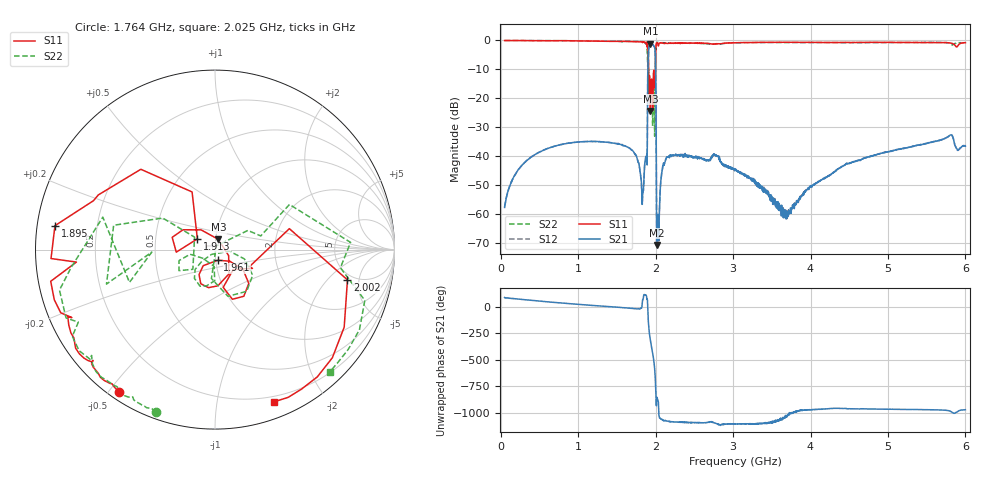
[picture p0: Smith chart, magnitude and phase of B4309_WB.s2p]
! Matrix data file written by TouchstoneData, EPCOS AG
! FILENAME: "B4309_WB.s2p"
! COMMENT: "(AI24B_R1C1_WB.s2p) Epcos AG 3/11/2011 10:50"
! INFO: nport=2, nfreq=1601
! DATE: "Thu Apr  7 08:25:59 2011"
! USER: "Jacques-Antoine Damy"
! port | pin | signal
!  1  |  1  |  IN
!  2  |  4  |  OUT
# MHZ S RI R 50
! freq  reS11 imS11  reS21 imS21  reS12 imS12  reS22 imS22
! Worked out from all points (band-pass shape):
!   1601 points, 50 MHz to 6 GHz, reference 50 ohm
!   highest |S21| = -1.06 dB at 1.932 GHz (marker M1); lowest = -70.8 dB at 2.014 GHz (marker M2)
!   |S21| within 3 dB of the highest: 1.909 GHz to 1.994 GHz (85.3 MHz wide, 4.37 % of centre)
!   lowest |S11| = -24.4 dB at 1.932 GHz (marker M3), VSWR 1.13, Z = 51.6 + j5.89 ohm
!   |S11| at or under -10 dB: 1.91 GHz to 1.997 GHz (87.3 MHz wide, 4.47 % of centre)
!   |S22| runs from -33.2 to 0.0 dB; largest |S21 - S12| = 0.0046
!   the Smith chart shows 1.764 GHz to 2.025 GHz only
!   S11 on the Smith chart (normalised r, x): 1.764 GHz: 0.03, -0.53; 1.895 GHz: 0.05, +0.07; 1.913 GHz: 0.82, +0.10; 1.961 GHz: 1.02, -0.12; 2.002 GHz: 4.39, -3.48; 2.025 GHz: 0.15, -1.45
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50  0.9955 -0.072  3.42e-05 0.00128  0.000138 0.0013  0.9983 -0.0562
354.9375  0.873 -0.4785  0.00377 0.00788  0.00379 0.00787  0.9204 -0.3831
1042.906  0.2366 -0.9537  0.0165 0.00643  0.0165 0.00639  0.4527 -0.8768
1764.344  -0.5356 -0.7948  0.00829 -0.00306  0.00831 -0.0031  -0.328 -0.9052
1846.156  -0.7557 -0.5807  -0.000988 0.00311  -0.000963 0.00314  -0.6033 -0.7287
1864.75  -0.8145 -0.4214  -0.00283 0.00734  -0.00282 0.00733  -0.6949 -0.6119
1894.5  -0.8917 0.1334  0.0189 0.0394  0.0191 0.0394  -0.4765 -0.1826
1913.094  -0.0981 0.0598  -0.6984 0.2998  -0.6973 0.3026  -0.1139 0.0696
1931.688  0.0188 0.0569  0.6053 0.6451  0.608 0.6438  -0.0673 -0.0486
1961.438  0.0153 -0.0592  0.1951 -0.823  0.1921 -0.8244  -0.0193 -0.0268
1976.312  0.1604 -0.2601  -0.6768 -0.4166  -0.679 -0.4149  0.1768 -0.2324
2002.344  0.7381 -0.1688  0.0545 -0.1561  0.0542 -0.1566  0.7553 0.0401
2013.5  0.57 -0.7091  -0.00026 -0.000126  -0.000253 -0.000104  0.8046 -0.4472
2024.656  0.3276 -0.8483  -0.00082 -0.000428  -0.00084 -0.000426  0.6381 -0.6837
2035.812  0.198 -0.7773  -0.000551 4.29e-05  -0.000562 4.91e-05  0.51 -0.7881
2095.312  -0.0735 -0.9016  0.00689 0.000599  0.00691 0.000505  0.1737 -0.9037
2165.969  -0.1901 -0.8703  0.00961 -0.000687  0.00962 -0.000768  0.0176 -0.8987
3025  -0.5861 -0.6992  0.00503 -0.00295  0.00506 -0.00293  -0.4298 -0.8011
3675.781  -0.7464 -0.5542  0.000568 0.000739  0.000545 0.000704  -0.6294 -0.6759
4017.906  -0.7922 -0.4817  -0.000829 0.0028  -0.00081 0.00279  -0.6943 -0.6066
5010.812  -0.882 -0.2889  -0.0042 0.0111  -0.0042 0.0111  -0.8223 -0.4156
6000  -0.9083 -0.1175  -0.00411 0.0142  -0.00401 0.0143  -0.8686 -0.1622
